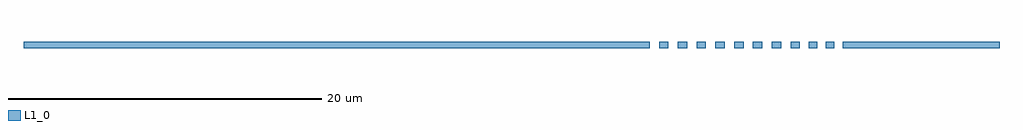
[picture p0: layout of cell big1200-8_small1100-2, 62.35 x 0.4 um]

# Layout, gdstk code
import gdstk
lib = gdstk.Library(unit=1e-6, precision=1e-09)
def R(c, l, rs):  # rectangles x0, y0, x1, y1
    for r in rs: c.add(gdstk.rectangle(r[:2], r[2:], *l))
def A(c, l, x, y, w, h, nx, ny, dx, dy):  # array of equal rectangles
    R(c, l, [(x+i*dx, y+j*dy, x+i*dx+w, y+j*dy+h) for i in range(nx) for j in range(ny)])
L1_0 = (1, 0)

big1200_8_small1100_2 = lib.new_cell('big1200-8_small1100-2')
A(big1200_8_small1100_2, L1_0, 0.6, 0, 0.6, 0.4, 8, 1, 1.2, 0)
R(big1200_8_small1100_2, L1_0, [(-40,0,0,0.4), (10.15,0,10.7,0.4), (11.25,0,11.8,0.4), (12.35,0,22.35,0.4)])

lib.write_gds('big1200-8_small1100-2.gds')
